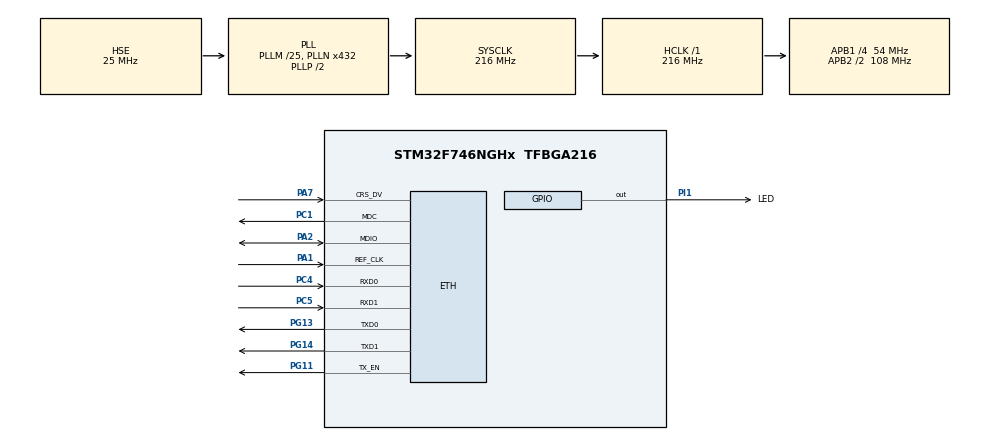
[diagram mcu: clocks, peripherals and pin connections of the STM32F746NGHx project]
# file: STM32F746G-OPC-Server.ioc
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ETH.ChecksumMode=ETH_CHECKSUM_BY_HARDWARE
ETH.MediaInterface=ETH_MEDIA_INTERFACE_RMII
ETH.PhyAddress=0
ETH.RxMode=ETH_RXINTERRUPT_MODE
FREERTOS.Tasks01=defaultTask,24,512,StartDefaultTask,Default,NULL,Dynamic,NULL,NULL;OPC_UA,48,4096,opcua_thread,Default,NULL,Dynamic,NULL,NULL
FREERTOS.configCHECK_FOR_STACK_OVERFLOW=1
FREERTOS.configMINIMAL_STACK_SIZE=512
FREERTOS.configTICK_RATE_HZ=1000
FREERTOS.configTOTAL_HEAP_SIZE=140000
FREERTOS.configUSE_MALLOC_FAILED_HOOK=1
LWIP.DEFAULT_THREAD_PRIO=49
LWIP.DEFAULT_THREAD_STACKSIZE=512
LWIP.GATEWAY_ADDRESS=192.168.000.001
LWIP.IP_ADDRESS=192.168.000.102
LWIP.LWIP_COMPAT_SOCKETS=0
LWIP.LWIP_DHCP=0
LWIP.LWIP_DNS=1
LWIP.LWIP_SO_RCVTIMEO=1
LWIP.LWIP_SO_SNDRCVTIMEO_NONSTANDARD=0
LWIP.LWIP_SO_SNDTIMEO=1
LWIP.MEMP_MEM_MALLOC=0
LWIP.MEMP_NUM_NETBUF=8
LWIP.MEMP_NUM_NETCONN=16
LWIP.MEMP_NUM_NETDB=2
LWIP.MEMP_NUM_TCP_PCB_LISTEN=8
LWIP.MEMP_NUM_TCP_SEG=16
LWIP.MEM_SIZE=20000
LWIP.NETMASK_ADDRESS=255.255.255.000
LWIP.SLIPIF_THREAD_STACKSIZE=512
LWIP.SO_REUSE=1
LWIP.TCPIP_THREAD_PRIO=49
LWIP.TCPIP_THREAD_STACKSIZE=512
LWIP.Version=v2.0.3_Cube
MBEDTLS.MBEDTLS_AES_ROM_TABLES=1
MBEDTLS.MBEDTLS_ENTROPY_FORCE_SHA256=1
MBEDTLS.MBEDTLS_ENTROPY_HARDWARE_ALT=1
MBEDTLS.MBEDTLS_HAVE_TIME_DATE=0
MBEDTLS.MBEDTLS_MEMORY_BUFFER_ALLOC_C=1
MBEDTLS.MBEDTLS_MPI_MAX_SIZE_ENABLE=1
MBEDTLS.MBEDTLS_MPI_WINDOW_SIZE=1
MBEDTLS.MBEDTLS_MPI_WINDOW_SIZE_ENABLE=1
MBEDTLS.MBEDTLS_PLATFORM_MEMORY=1
MBEDTLS.MBEDTLS_PLATFORM_NO_STD_FUNCTIONS=0
MBEDTLS.MBEDTLS_SHA512_C=0
MBEDTLS.MBEDTLS_SSL_MAX_CONTENT_LEN=2*1024
MBEDTLS.MBEDTLS_SSL_MAX_CONTENT_LEN_ENABLE=1
Mcu.Family=STM32F7
Mcu.Name=STM32F746NGHx
Mcu.Package=TFBGA216
NVIC.ETH_IRQn=true\:5\:0\:true\:false\:true\:true\:true\:true
NVIC.PriorityGroup=NVIC_PRIORITYGROUP_4
NVIC.TIM1_UP_TIM10_IRQn=true\:0\:0\:false\:false\:true\:false\:false\:true
NVIC.TimeBase=TIM1_UP_TIM10_IRQn
NVIC.TimeBaseIP=TIM1
PA1.Mode=RMII
PA1.Signal=ETH_REF_CLK
PA2.Mode=RMII
PA2.Signal=ETH_MDIO
PA7.Mode=RMII
PA7.Signal=ETH_CRS_DV
PC1.Mode=RMII
PC1.Signal=ETH_MDC
PC4.Mode=RMII
PC4.Signal=ETH_RXD0
PC5.Mode=RMII
PC5.Signal=ETH_RXD1
PG11.Mode=RMII
PG11.Signal=ETH_TX_EN
PG13.Mode=RMII
PG13.Signal=ETH_TXD0
PG14.Mode=RMII
PG14.Signal=ETH_TXD1
PH0/OSC_IN.Mode=HSE-External-Oscillator
PH0/OSC_IN.Signal=RCC_OSC_IN
PH1/OSC_OUT.Mode=HSE-External-Oscillator
PH1/OSC_OUT.Signal=RCC_OSC_OUT
PI1.GPIO_Label=LED
PI1.GPIO_PuPd=GPIO_PULLUP
PI1.Signal=GPIO_Output
ProjectManager.HeapSize=0x6000
ProjectManager.StackSize=0x6000
ProjectManager.TargetToolchain=SW4STM32
RCC.AHBFreq_Value=216000000
RCC.APB1CLKDivider=RCC_HCLK_DIV4
RCC.APB1Freq_Value=54000000
RCC.APB1TimFreq_Value=108000000
RCC.APB2CLKDivider=RCC_HCLK_DIV2
RCC.APB2Freq_Value=108000000
RCC.APB2TimFreq_Value=216000000
RCC.CortexFreq_Value=216000000
RCC.HCLKFreq_Value=216000000
RCC.HSE_VALUE=25000000
RCC.HSI_VALUE=16000000
RCC.PLLM=25
RCC.PLLN=432
RCC.PLLSourceVirtual=RCC_PLLSOURCE_HSE
RCC.SYSCLKFreq_VALUE=216000000
RCC.SYSCLKSource=RCC_SYSCLKSOURCE_PLLCLK
RCC.USBFreq_Value=216000000
RCC.VCOOutputFreq_Value=432000000
VP_FREERTOS_VS_CMSIS_V2.Mode=CMSIS_V2
VP_LWIP_VS_Enabled.Mode=Enabled
VP_MBEDTLS_VS_MBEDTLS.Mode=Enabled
VP_SYS_VS_tim1.Mode=TIM1
board=custom

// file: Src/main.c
/* USER CODE BEGIN Header */
/**
  ******************************************************************************
  * @file           : main.c
  * @brief          : Main program body
  ******************************************************************************
  * @attention
  *
  * <h2><center>&copy; Copyright (c) 2020 STMicroelectronics.
  * All rights reserved.</center></h2>
  *
  * This software component is licensed by ST under Ultimate Liberty license
  * SLA0044, the "License"; You may not use this file except in compliance with
  * the License. You may obtain a copy of the License at:
  *                             www.st.com/SLA0044
  *
  ******************************************************************************
  */
/* USER CODE END Header */

#include "main.h"
#include "cmsis_os.h"
#include "mbedtls.h"

/* USER CODE BEGIN Includes */
#include "open62541.h"
#include "cert.h"
#include "privateKey.h"
/* USER CODE END Includes */

/* Definitions for defaultTask */
osThreadId_t defaultTaskHandle;
const osThreadAttr_t defaultTask_attributes = {
        .name = "defaultTask",
        .priority = (osPriority_t) osPriorityNormal,
        .stack_size = 512
};
/* Definitions for OPC_UA */
osThreadId_t OPC_UAHandle;
const osThreadAttr_t OPC_UA_attributes = {
        .name = "OPC_UA",
        .priority = (osPriority_t) osPriorityRealtime,
        .stack_size = 4096
};
/* USER CODE BEGIN PV */
UA_Server *mUaServer;
UA_NodeId outputNodeId;
UA_NodeId inputNodeId;
/* USER CODE END PV */

void SystemClock_Config(void);

static void MX_GPIO_Init(void);

void StartDefaultTask(void *argument);

void opcua_thread(void *argument);

int main(void) {

    /* MCU Configuration--------------------------------------------------------*/

    /* Reset of all peripherals, Initializes the Flash interface and the Systick. */
    HAL_Init();

    /* Configure the system clock */
    SystemClock_Config();

    /* Initialize all configured peripherals */
    MX_GPIO_Init();
    /* Up to user define the empty MX_MBEDTLS_Init() function located in mbedtls.c file */

    /* USER CODE BEGIN 2 */
    MX_LWIP_Init();
    MX_MBEDTLS_Init();
    /* USER CODE END 2 */
    /* Init scheduler */
    osKernelInitialize();

    /* Create the thread(s) */
    /* creation of defaultTask */
    defaultTaskHandle = osThreadNew(StartDefaultTask, NULL, &defaultTask_attributes);

    /* creation of OPC_UA */
    OPC_UAHandle = osThreadNew(opcua_thread, NULL, &OPC_UA_attributes);

    /* Start scheduler */
    osKernelStart();

    /* We should never get here as control is now taken by the scheduler */

    /* Infinite loop */
    while (1) {

    }
}

void SystemClock_Config(void) {
    RCC_OscInitTypeDef RCC_OscInitStruct = {0};
    RCC_ClkInitTypeDef RCC_ClkInitStruct = {0};

    /** Configure the main internal regulator output voltage
    */
    __HAL_RCC_PWR_CLK_ENABLE();
    __HAL_PWR_VOLTAGESCALING_CONFIG(PWR_REGULATOR_VOLTAGE_SCALE1);
    /** Initializes the CPU, AHB and APB busses clocks
    */
    RCC_OscInitStruct.OscillatorType = RCC_OSCILLATORTYPE_HSE;
    RCC_OscInitStruct.HSEState = RCC_HSE_ON;
    RCC_OscInitStruct.PLL.PLLState = RCC_PLL_ON;
    RCC_OscInitStruct.PLL.PLLSource = RCC_PLLSOURCE_HSE;
    RCC_OscInitStruct.PLL.PLLM = 25;
    RCC_OscInitStruct.PLL.PLLN = 432;
    RCC_OscInitStruct.PLL.PLLP = RCC_PLLP_DIV2;
    RCC_OscInitStruct.PLL.PLLQ = 2;
    if (HAL_RCC_OscConfig(&RCC_OscInitStruct) != HAL_OK) {
        Error_Handler();
    }
    /** Activate the Over-Drive mode
    */
    if (HAL_PWREx_EnableOverDrive() != HAL_OK) {
        Error_Handler();
    }
    /** Initializes the CPU, AHB and APB busses clocks
    */
    RCC_ClkInitStruct.ClockType = RCC_CLOCKTYPE_HCLK | RCC_CLOCKTYPE_SYSCLK
                                  | RCC_CLOCKTYPE_PCLK1 | RCC_CLOCKTYPE_PCLK2;
    RCC_ClkInitStruct.SYSCLKSource = RCC_SYSCLKSOURCE_PLLCLK;
    RCC_ClkInitStruct.AHBCLKDivider = RCC_SYSCLK_DIV1;
    RCC_ClkInitStruct.APB1CLKDivider = RCC_HCLK_DIV4;
    RCC_ClkInitStruct.APB2CLKDivider = RCC_HCLK_DIV2;

    if (HAL_RCC_ClockConfig(&RCC_ClkInitStruct, FLASH_LATENCY_7) != HAL_OK) {
        Error_Handler();
    }
}

static void MX_GPIO_Init(void) {
    GPIO_InitTypeDef GPIO_InitStruct = {0};

    /* GPIO Ports Clock Enable */
    __HAL_RCC_GPIOG_CLK_ENABLE();
    __HAL_RCC_GPIOI_CLK_ENABLE();
    __HAL_RCC_GPIOH_CLK_ENABLE();
    __HAL_RCC_GPIOC_CLK_ENABLE();
    __HAL_RCC_GPIOA_CLK_ENABLE();

    /*Configure GPIO pin Output Level */
    HAL_GPIO_WritePin(LED_GPIO_Port, LED_Pin, GPIO_PIN_RESET);

    /*Configure GPIO pin : LED_Pin */
    GPIO_InitStruct.Pin = LED_Pin;
    GPIO_InitStruct.Mode = GPIO_MODE_OUTPUT_PP;
    GPIO_InitStruct.Pull = GPIO_PULLUP;
    GPIO_InitStruct.Speed = GPIO_SPEED_FREQ_LOW;
    HAL_GPIO_Init(LED_GPIO_Port, &GPIO_InitStruct);

}

/* USER CODE BEGIN 4 */
UA_Double
computeOutput(UA_Double lastValue, UA_Double input) {
    return 0.07165 * input + 0.9299 * lastValue;
}

static void
updateOutputCallback(UA_Server *server, void *data) {
    UA_Variant processOutputVariant;
    UA_Variant inputVariant;
    UA_Server_readValue(server, outputNodeId, &processOutputVariant);
    UA_Server_readValue(server, inputNodeId, &inputVariant);

    UA_Double *processOutputValue = (UA_Double *) processOutputVariant.data;
    UA_Double *inputValue = (UA_Double *) inputVariant.data;
    UA_Double processOutput = computeOutput(*processOutputValue, *inputValue);

    UA_Variant newValue;
    UA_Variant_setScalar(&newValue, &processOutput, &UA_TYPES[UA_TYPES_DOUBLE]);
    UA_Server_writeValue(server, outputNodeId, newValue);
}

static void
addVariable(UA_Server *server, char *variableName, UA_Double initialValue) {
    UA_VariableAttributes attr = UA_VariableAttributes_default;
    UA_Double variable = initialValue;
    UA_Variant_setScalar(&attr.value, &variable, &UA_TYPES[UA_TYPES_DOUBLE]);
    attr.description = UA_LOCALIZEDTEXT("en-US", variableName);
    attr.displayName = UA_LOCALIZEDTEXT("en-US", variableName);
    attr.dataType = UA_TYPES[UA_TYPES_DOUBLE].typeId;
    attr.accessLevel = UA_ACCESSLEVELMASK_READ | UA_ACCESSLEVELMASK_WRITE;

    /* Add the variable node to the information model */
    UA_NodeId variableNodeId = UA_NODEID_STRING(1, variableName);
    UA_QualifiedName qualifiedVariableName = UA_QUALIFIEDNAME(1, variableName);
    UA_NodeId parentNodeId = UA_NODEID_NUMERIC(0, UA_NS0ID_OBJECTSFOLDER);
    UA_NodeId parentReferenceNodeId = UA_NODEID_NUMERIC(0, UA_NS0ID_ORGANIZES);
    UA_Server_addVariableNode(server, variableNodeId, parentNodeId,
                              parentReferenceNodeId, qualifiedVariableName,
                              UA_NODEID_NUMERIC(0, UA_NS0ID_BASEDATAVARIABLETYPE), attr, NULL, NULL);

    return variableNodeId;
}
/* USER CODE END 4 */

void StartDefaultTask(void *argument) {
    for (;;) {
        osDelay(1);
    }
}

void opcua_thread(void *argument) {
    /* USER CODE BEGIN opcua_thread */
    UA_ByteString c = UA_STRING_NULL;
    c.data = certificate;
    c.length = cert_len;

    UA_ByteString prvKey = UA_STRING_NULL;
    prvKey.data = privateKey;
    prvKey.length = privateKey_len;

    size_t trustListSize = 1;
    UA_ByteString trustList[trustListSize];
    trustList[0] = UA_STRING_NULL;
    trustList[0].data = certificate;
    trustList[0].length = cert_len;

    size_t issuerListSize = 0;
    UA_ByteString *issuerList = NULL;
    size_t revocationListSize = 0;
    UA_ByteString *revocationList = NULL;

    mUaServer = UA_Server_new();
    UA_ServerConfig *uaServerConfig = UA_Server_getConfig(mUaServer);

    UA_StatusCode retval = UA_ServerConfig_setDefaultWithSecurityPolicies(
        uaServerConfig, 4840,
        &c, &prvKey,
        trustList, trustListSize,
        issuerList, issuerListSize,
        revocationList, revocationListSize
    );
    if (!retval) {
        HAL_GPIO_TogglePin(LED_GPIO_Port, LED_Pin);
    }

    UA_ServerConfig_setCustomHostname(uaServerConfig, UA_STRING("192.168.000.102"));
    UA_Boolean running = true;

    char *inputVariableName = "process-input";
    char *outputVariableName = "process-output";
    addVariable(mUaServer, inputVariableName, 0L);
    addVariable(mUaServer, outputVariableName, 0L);
    inputNodeId = UA_NODEID_STRING(1, inputVariableName);
    outputNodeId = UA_NODEID_STRING(1, outputVariableName);
    UA_Server_addRepeatedCallback(mUaServer, updateOutputCallback, NULL, 1000, NULL);

    // server should run in loop after invocation of function line below
    retval = UA_Server_run(mUaServer, &running);

    // execution should never reach that point if everything works fine
    UA_Server_delete(mUaServer);
    /* USER CODE END opcua_thread */
}

void HAL_TIM_PeriodElapsedCallback(TIM_HandleTypeDef *htim) {
    if (htim->Instance == TIM1) {
        HAL_IncTick();
    }
}

void Error_Handler(void) {
}

/************************ (C) COPYRIGHT STMicroelectronics *****END OF FILE****/

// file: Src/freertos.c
/* USER CODE BEGIN Header */
/**
  ******************************************************************************
  * File Name          : freertos.c
  * Description        : Code for freertos applications
  ******************************************************************************
  * @attention
  *
  * <h2><center>&copy; Copyright (c) 2020 STMicroelectronics.
  * All rights reserved.</center></h2>
  *
  * This software component is licensed by ST under Ultimate Liberty license
  * SLA0044, the "License"; You may not use this file except in compliance with
  * the License. You may obtain a copy of the License at:
  *                             www.st.com/SLA0044
  *
  ******************************************************************************
  */
/* USER CODE END Header */

#include "FreeRTOS.h"
#include "task.h"
#include "main.h"

/* Hook prototypes */
void vApplicationStackOverflowHook(xTaskHandle xTask, signed char *pcTaskName);
void vApplicationMallocFailedHook(void);

/* USER CODE BEGIN 4 */
__weak void vApplicationStackOverflowHook(xTaskHandle xTask, signed char *pcTaskName)
{
   /* Run time stack overflow checking is performed if
   configCHECK_FOR_STACK_OVERFLOW is defined to 1 or 2. This hook function is
   called if a stack overflow is detected. */
}
/* USER CODE END 4 */

/* USER CODE BEGIN 5 */
__weak void vApplicationMallocFailedHook(void)
{
   /* vApplicationMallocFailedHook() will only be called if
   configUSE_MALLOC_FAILED_HOOK is set to 1 in FreeRTOSConfig.h. It is a hook
   function that will get called if a call to pvPortMalloc() fails.
   pvPortMalloc() is called internally by the kernel whenever a task, queue,
   timer or semaphore is created. It is also called by various parts of the
   demo application. If heap_1.c or heap_2.c are used, then the size of the
   heap available to pvPortMalloc() is defined by configTOTAL_HEAP_SIZE in
   FreeRTOSConfig.h, and the xPortGetFreeHeapSize() API function can be used
   to query the size of free heap space that remains (although it does not
   provide information on how the remaining heap might be fragmented). */
}
/* USER CODE END 5 */

/************************ (C) COPYRIGHT STMicroelectronics *****END OF FILE****/
